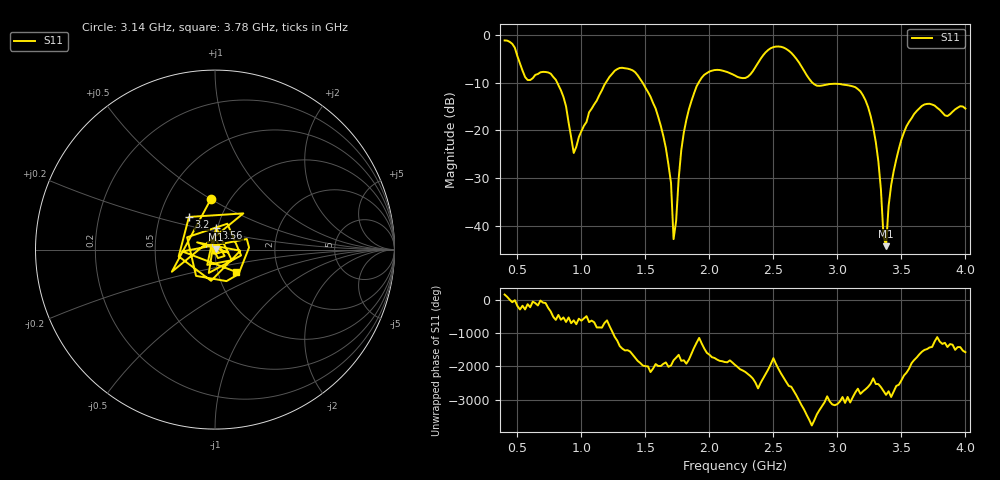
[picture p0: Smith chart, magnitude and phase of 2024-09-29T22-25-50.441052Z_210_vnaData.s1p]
!Created with skrf (http://scikit-rf.org).
# Hz S RI R 50.0
!freq ReS11 ImS11
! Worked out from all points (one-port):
!   181 points, 400 MHz to 4 GHz, reference 50 ohm
!   lowest |S11| = -44.2 dB at 3.38 GHz (marker M1), VSWR 1.01, Z = 50.6 + j0.251 ohm
!   |S11| at or under -10 dB: 810.8 MHz to 1.191 GHz (380.2 MHz wide, 38 % of centre); 1.478 GHz to 1.916 GHz (438.3 MHz wide, 25.8 % of centre); 2.804 GHz to end of sweep
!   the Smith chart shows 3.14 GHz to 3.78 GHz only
!   S11 on the Smith chart (normalised r, x): 3.14 GHz: 0.82, +0.50; 3.2 GHz: 0.70, +0.27; 3.56 GHz: 0.98, +0.25; 3.78 GHz: 1.23, -0.32
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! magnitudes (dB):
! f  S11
! 400 MHz  -1.2
! 580 MHz  -9.5
! 740 MHz  -7.9
! 860 MHz  -13.0
! 940 MHz  -24.7
! 1.3 GHz  -6.9
! 1.58 GHz  -15.4
! 1.7 GHz  -30.9
! 1.72 GHz  -42.7
! 1.76 GHz  -30.1
! 1.8 GHz  -20.4
! 1.9 GHz  -10.8
! 2.2 GHz  -8.5
! 2.5 GHz  -2.6
! 2.66 GHz  -4.4
! 2.84 GHz  -10.6
! 3.1 GHz  -10.6
! 3.14 GHz  -11.0
! 3.2 GHz  -12.7
! 3.3 GHz  -22.4
! 3.34 GHz  -32.3
! 3.36 GHz  -42.0
! 3.38 GHz  -44.2
! 3.4 GHz  -35.8
! 3.44 GHz  -28.5
! 3.56 GHz  -18.2
! 3.78 GHz  -15.3
! 4 GHz  -15.4
